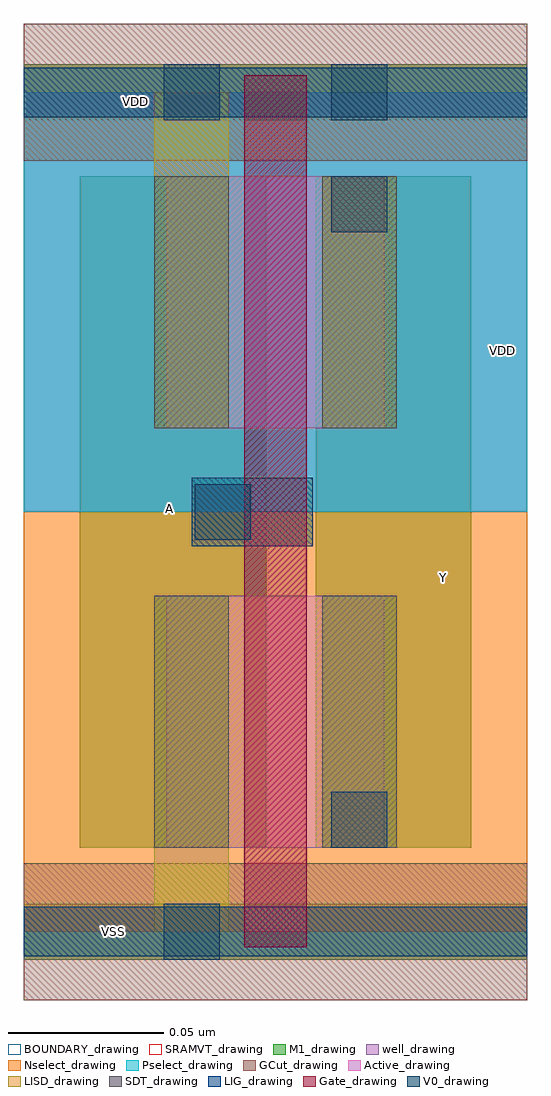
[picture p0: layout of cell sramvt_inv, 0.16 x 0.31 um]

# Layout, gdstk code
import gdstk
lib = gdstk.Library(unit=1e-6, precision=2.5e-10)
def R(c, l, rs):  # rectangles x0, y0, x1, y1
    for r in rs: c.add(gdstk.rectangle(r[:2], r[2:], *l))
well_drawing = (1, 0)
Gate_drawing = (7, 0)
GCut_drawing = (10, 0)
Active_drawing = (11, 0)
Nselect_drawing = (12, 0)
Pselect_drawing = (13, 0)
LIG_drawing = (16, 0)
LISD_drawing = (17, 0)
V0_drawing = (18, 0)
M1_drawing = (19, 0)
SDT_drawing = (88, 0)
BOUNDARY_drawing = (100, 0)
SRAMVT_drawing = (110, 0)

sramvt_inv = lib.new_cell('sramvt_inv')
R(sramvt_inv, well_drawing, [(0,0.135,0.162,0.27)])
R(sramvt_inv, Gate_drawing, [(0.071,-0.005,0.091,0.2755)])
R(sramvt_inv, GCut_drawing, [(0,-0.022,0.162,0.022), (0,0.248,0.162,0.292)])
R(sramvt_inv, Active_drawing, [(0.046,0.027,0.116,0.108), (0.046,0.162,0.116,0.243)])
R(sramvt_inv, Nselect_drawing, [(0,0,0.162,0.135)])
R(sramvt_inv, Pselect_drawing, [(0,0.135,0.162,0.27)])
R(sramvt_inv, LIG_drawing, [(0,-0.008,0.162,0.008), (0.054,0.124,0.093,0.146), (0,0.262,0.162,0.278)])
R(sramvt_inv, LISD_drawing, [(0.042,0,0.066,0.108), (0.096,0.027,0.12,0.108), (0.042,0.162,0.066,0.27), (0.096,0.162,0.12,0.243)])
R(sramvt_inv, V0_drawing, [(0.045,-0.009,0.063,0.009), (0.099,0.027,0.117,0.045), (0.055,0.126,0.073,0.144), (0.099,0.225,0.117,0.243), (0.045,0.261,0.063,0.279), (0.099,0.261,0.117,0.279)])
R(sramvt_inv, M1_drawing, [(0,-0.009,0.162,0.009), (0.018,0.027,0.078,0.243), (0.094,0.027,0.144,0.243), (0,0.261,0.162,0.279)])
R(sramvt_inv, SDT_drawing, [(0.042,0.027,0.066,0.108), (0.096,0.027,0.12,0.108), (0.042,0.162,0.066,0.243), (0.096,0.162,0.12,0.243)])
R(sramvt_inv, BOUNDARY_drawing, [(0,0,0.162,0.27)])
R(sramvt_inv, SRAMVT_drawing, [(0,0,0.162,0.27)])
sramvt_inv.add(gdstk.Label('VSS', (0.029,0), layer=19, texttype=251))
sramvt_inv.add(gdstk.Label('VDD', (0.036,0.267), layer=19, texttype=251))
sramvt_inv.add(gdstk.Label('A', (0.047,0.136), layer=19, texttype=251))
sramvt_inv.add(gdstk.Label('Y', (0.135,0.114), layer=19, texttype=251))
sramvt_inv.add(gdstk.Label('VDD', (0.154,0.187), layer=1, texttype=251))
sramvt_inv.add(gdstk.Label('VSS', (0.206,0.08), layer=3, texttype=251))

lib.write_gds('sramvt_inv.gds')
